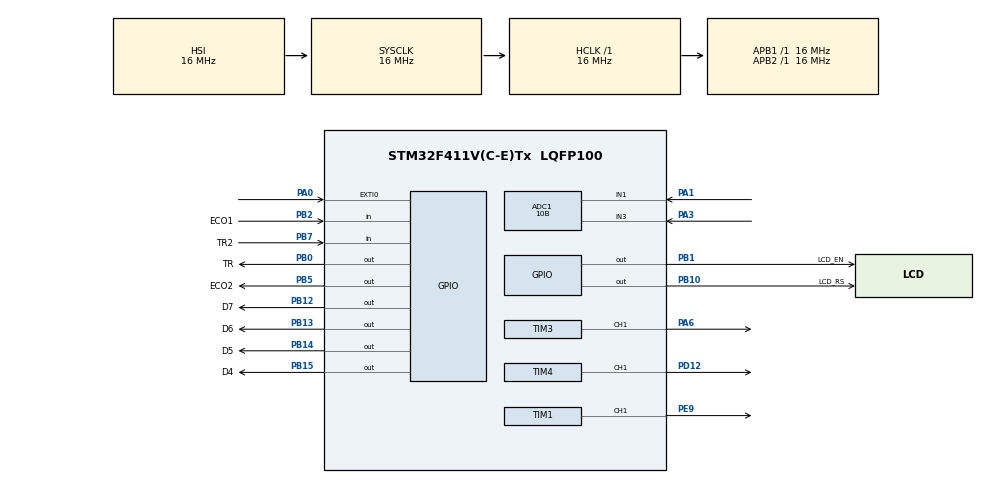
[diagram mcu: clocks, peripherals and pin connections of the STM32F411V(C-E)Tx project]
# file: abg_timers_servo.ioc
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ADC1.Channel-1\#ChannelRegularConversion=ADC_CHANNEL_1
ADC1.Channel-2\#ChannelRegularConversion=ADC_CHANNEL_3
ADC1.ContinuousConvMode=ENABLE
ADC1.DMAContinuousRequests=ENABLE
ADC1.InjNumberOfConversion=0
ADC1.NbrOfConversion=2
ADC1.NbrOfConversionFlag=1
ADC1.Rank-1\#ChannelRegularConversion=1
ADC1.Rank-2\#ChannelRegularConversion=2
ADC1.Resolution=ADC_RESOLUTION_10B
ADC1.SamplingTime-1\#ChannelRegularConversion=ADC_SAMPLETIME_480CYCLES
ADC1.SamplingTime-2\#ChannelRegularConversion=ADC_SAMPLETIME_480CYCLES
ADC1.ScanConvMode=ENABLE
ADC1.master=1
Dma.ADC1.0.Direction=DMA_PERIPH_TO_MEMORY
Dma.ADC1.0.FIFOMode=DMA_FIFOMODE_DISABLE
Dma.ADC1.0.Instance=DMA2_Stream0
Dma.ADC1.0.MemDataAlignment=DMA_MDATAALIGN_WORD
Dma.ADC1.0.MemInc=DMA_MINC_ENABLE
Dma.ADC1.0.Mode=DMA_CIRCULAR
Dma.ADC1.0.PeriphDataAlignment=DMA_PDATAALIGN_WORD
Dma.ADC1.0.PeriphInc=DMA_PINC_DISABLE
Dma.ADC1.0.Priority=DMA_PRIORITY_LOW
Dma.Request0=ADC1
Mcu.Family=STM32F4
Mcu.Name=STM32F411V(C-E)Tx
Mcu.Package=LQFP100
NVIC.ADC_IRQn=true\:0\:0\:false\:false\:true\:true\:true\:true
NVIC.DMA2_Stream0_IRQn=true\:0\:0\:false\:false\:true\:false\:true\:true
NVIC.EXTI0_IRQn=true\:0\:0\:false\:false\:true\:true\:true\:true
NVIC.PriorityGroup=NVIC_PRIORITYGROUP_4
NVIC.TIM1_UP_TIM10_IRQn=true\:0\:0\:false\:false\:true\:true\:true\:true
NVIC.TIM2_IRQn=true\:0\:0\:false\:false\:true\:true\:true\:true
PA0-WKUP.Signal=GPXTI0
PA1.Signal=ADCx_IN1
PA3.Signal=ADCx_IN3
PA6.Signal=S_TIM3_CH1
PB0.GPIO_Label=TR
PB0.Signal=GPIO_Output
PB1.GPIO_Label=LCD_EN
PB1.Signal=GPIO_Output
PB10.GPIO_Label=LCD_RS
PB10.Signal=GPIO_Output
PB12.GPIO_Label=D7
PB12.Signal=GPIO_Output
PB13.GPIO_Label=D6
PB13.Signal=GPIO_Output
PB14.GPIO_Label=D5
PB14.Signal=GPIO_Output
PB15.GPIO_Label=D4
PB15.Signal=GPIO_Output
PB2.GPIO_Label=ECO1
PB2.Signal=GPIO_Input
PB5.GPIO_Label=ECO2
PB5.Signal=GPIO_Output
PB7.GPIO_Label=TR2
PB7.Signal=GPIO_Input
PD12.Signal=S_TIM4_CH1
PE9.Signal=S_TIM1_CH1
PH0\ -\ OSC_IN.Mode=HSE-External-Oscillator
PH0\ -\ OSC_IN.Signal=RCC_OSC_IN
PH1\ -\ OSC_OUT.Mode=HSE-External-Oscillator
PH1\ -\ OSC_OUT.Signal=RCC_OSC_OUT
ProjectManager.HeapSize=0x200
ProjectManager.StackSize=0x400
ProjectManager.TargetToolchain=STM32CubeIDE
RCC.AHBFreq_Value=16000000
RCC.APB1Freq_Value=16000000
RCC.APB2Freq_Value=16000000
RCC.CortexFreq_Value=16000000
RCC.HSE_VALUE=25000000
RCC.HSI_VALUE=16000000
RCC.LSE_VALUE=32768
RCC.SYSCLKFreq_VALUE=16000000
RCC.VCOOutputFreq_Value=192000000
SH.ADCx_IN1.0=ADC1_IN1,IN1
SH.ADCx_IN3.0=ADC1_IN3,IN3
SH.S_TIM1_CH1.0=TIM1_CH1,PWM Generation1 CH1
SH.S_TIM3_CH1.0=TIM3_CH1,PWM Generation1 CH1
SH.S_TIM4_CH1.0=TIM4_CH1,PWM Generation1 CH1
TIM1.Channel-PWM\ Generation1\ CH1=TIM_CHANNEL_1
TIM1.Period=1999
TIM1.Prescaler=159
TIM1.Pulse-PWM\ Generation1\ CH1=0
TIM2.Period=5000-1
TIM2.Prescaler=16000-1
TIM3.Channel-PWM\ Generation1\ CH1=TIM_CHANNEL_1
TIM3.Period=244
TIM4.Channel-PWM\ Generation1\ CH1=TIM_CHANNEL_1
TIM4.Period=1024-1
TIM4.Prescaler=159
TIM4.Pulse-PWM\ Generation1\ CH1=0
VP_TIM1_VS_ClockSourceINT.Mode=Internal
VP_TIM2_VS_ClockSourceINT.Mode=Internal
VP_TIM3_VS_ClockSourceINT.Mode=Internal
VP_TIM4_VS_ClockSourceINT.Mode=Internal
board=custom

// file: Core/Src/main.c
/* USER CODE BEGIN Header */
/**
  ******************************************************************************
  * @file           : main.c
  * @brief          : Main program body
  ******************************************************************************
  * @attention
  *
  * <h2><center>&copy; Copyright (c) 2020 STMicroelectronics.
  * All rights reserved.</center></h2>
  *
  * This software component is licensed by ST under BSD 3-Clause license,
  * the "License"; You may not use this file except in compliance with the
  * License. You may obtain a copy of the License at:
  *                        opensource.org/licenses/BSD-3-Clause
  *
  ******************************************************************************
  */
/* USER CODE END Header */
#include "main.h"

/* USER CODE BEGIN Includes */
#include "lcd.h"
#include "SFR04.h"
/* USER CODE END Includes */

/* USER CODE BEGIN PD */
#define NUM_ADC 2
/* USER CODE END PD */

ADC_HandleTypeDef hadc1;
DMA_HandleTypeDef hdma_adc1;

TIM_HandleTypeDef htim1;
TIM_HandleTypeDef htim2;
TIM_HandleTypeDef htim3;
TIM_HandleTypeDef htim4;

/* USER CODE BEGIN PV */
/* Private variables ---------------------------------------------------------*/
LCD_t lcd;
 uint32_t adcIn[NUM_ADC];
/* USER CODE END PV */

void SystemClock_Config(void);
static void MX_GPIO_Init(void);
static void MX_DMA_Init(void);
static void MX_TIM4_Init(void);
static void MX_TIM1_Init(void);
static void MX_TIM2_Init(void);
static void MX_ADC1_Init(void);
static void MX_TIM3_Init(void);
/* USER CODE BEGIN PFP */
/* Private function prototypes -----------------------------------------------*/

/* USER CODE END PFP */

/* USER CODE BEGIN 0 */

volatile float distancia, distancia2;

uint16_t adcvalue[1], adcbuffer[2];
volatile float temperature;
volatile int pulse, pulse1;

void HAL_ADC_ConvCpltCallback (ADC_HandleTypeDef * hadc){ // callback

	if (hadc->Instance == ADC1){
		adcvalue[0]=adcbuffer[0];
	}
}

volatile uint8_t  gente_dentro = 0;
volatile int32_t adcval; // solo me dba el dato la primera lectura pero al
// hacer el dato volatile ya hace la lectura continua del sensor.
volatile int periodo=1023;

volatile int bajar_barrera=0;

void HAL_TIM_PeriodElapsedCallback(TIM_HandleTypeDef *htim){

	if (htim->Instance==TIM2){
		bajar_barrera=1;
		HAL_TIM_Base_Stop_IT(&htim2);
	}

}

volatile int button_int=0;
void HAL_GPIO_EXTI_Callback(uint16_t GPIO_Pin){

	if (GPIO_Pin==GPIO_PIN_0)
	{
		button_int = 1;
	}
}
volatile void mensajeInicial(float d, int n){
char texto[20], tn[2];
sprintf(texto, "Dist= %.2fcm", d);
	lcd_clear(&lcd);
	lcd_home(&lcd);

	    	lcd_print(&lcd, texto);
	    	lcd_setCursor(&lcd, 0, 1);
	    	sprintf(tn, "coches: %d", n);
	    	lcd_print(&lcd, tn);

}

volatile void Temperatura(int t){

	t=(t*5*100)/1024; // entre 1024 ya que nuestra conversion esta hecha en 10 bits.
	char texto[9];
	sprintf(texto, "T=%dC",t);
	lcd_setCursor(&lcd, 10, 1);
	lcd_print(&lcd, texto);
if (t>=35){
	__HAL_TIM_SET_COMPARE(&htim3, TIM_CHANNEL_1, 200); // SI LA TEMPERATURA FUESE MUY ALTA SE ACTIVA UNA ALARMA MEDIANTE UN BUZZER
														// O BIEN SE ACTIVA UN VENTILADOR RESPONSABLE DE HACER BAJAR LA TEMPERATURA DEL AMBIENTE
}else{__HAL_TIM_SET_COMPARE(&htim3, TIM_CHANNEL_1, 0);}
}

/* USER CODE END 0 */

int main(void)
{

  /* MCU Configuration--------------------------------------------------------*/

  /* Reset of all peripherals, Initializes the Flash interface and the Systick. */
  HAL_Init();

  /* Configure the system clock */
  SystemClock_Config();

  /* Initialize all configured peripherals */
  MX_GPIO_Init();
  MX_DMA_Init();
  MX_TIM4_Init();
  MX_TIM1_Init();
  MX_TIM2_Init();
  MX_ADC1_Init();
  MX_TIM3_Init();
  /* USER CODE BEGIN 2 */
  HAL_TIM_PWM_Start(&htim1, TIM_CHANNEL_1);
  HAL_TIM_PWM_Start(&htim4, TIM_CHANNEL_1);
  HAL_TIM_PWM_Start(&htim3, TIM_CHANNEL_1);
  HAL_TIM_Base_Start_IT(&htim2);// solo si empiezo y finalizo los temporizadores(IT) es cuando funcionan realmente bien
  HAL_TIM_Base_Stop_IT(&htim2);

  //HAL_ADC_Start(&hadc1);

  HAL_ADC_Start_DMA(&hadc1, adcIn, NUM_ADC);

  // LCD SETTINGS ----------------------------------------------
    	lcd.RS_port = LCD_RS_GPIO_Port;
    	lcd.RS_pin = LCD_RS_Pin;
    	//lcd.RW_port = LCD_RW_GPIO_Port;
    	//lcd.RW_pin = LCD_RW_Pin;
    	lcd.EN_port = LCD_EN_GPIO_Port;
    	lcd.EN_pin = LCD_EN_Pin;
    	lcd.D4_port = D4_GPIO_Port;
    	lcd.D4_pin = D4_Pin;
    	lcd.D5_port = D5_GPIO_Port;
    	lcd.D5_pin = D5_Pin;
    	lcd.D6_port = D6_GPIO_Port;
    	lcd.D6_pin = D6_Pin;
    	lcd.D7_port = D7_GPIO_Port;
    	lcd.D7_pin = D7_Pin;

    	//inicializamos el LCD
    	lcd_begin(&lcd, 16, 2, LCD_5x8DOTS);

    	//escribimos un mensaje inicial
    	//mensajeInicial();
    	lcd_setCursor(&lcd, 0, 0);
    	lcd_print(&lcd, "GARAJE");
    	lcd_setCursor(&lcd, 0, 1);
    	lcd_print(&lcd, "BIENVENIDO");

    	// Calculamos temperatura para colocarla en la pantalla.

    	Temperatura(adcIn[1]);
    	 int n=0;

  /* USER CODE END 2 */

  /* Infinite loop */
  while (1)
  {

    /* USER CODE BEGIN 3 */
	  // numero de coches

	  //HAL_ADC_PollForConversion(&hadc1, 100);
	  //adcval=HAL_ADC_GetValue(&hadc1); // recibir el adc mediante dma
	  	  	  	  	  	  	  	  	  	 //mejor no genera problemas a la placa
	  Temperatura(adcIn[1]);

	  distancia=SFR04_READ(ECO1_GPIO_Port, ECO1_Pin, 60);
	  distancia2=SFR04_READ(ECO2_GPIO_Port, ECO2_Pin, 60);
	  HAL_Delay(200);
	  mensajeInicial(distancia, n);

//pulse1 = (periodo-(adcbuffer[0]/256));

pulse = periodo-adcIn[0];

if(n>0){
		if (pulse<=100) {__HAL_TIM_SET_COMPARE(&htim4, TIM_CHANNEL_1, 0);}
		else {__HAL_TIM_SET_COMPARE(&htim4, TIM_CHANNEL_1, pulse);}

	  //Para que se ilumine más cuando haya menos luz (1024-adcval))
}

if (button_int==1 && distancia<=10){
	n++;
	lcd_clear(&lcd);
	lcd_home(&lcd);
	lcd_print(&lcd, "ENTRANDO...");
	HAL_Delay(3000);
	 //sets the PWM duty cycle (Capture Compare Value)
	__HAL_TIM_SET_COMPARE(&htim1, TIM_CHANNEL_1, 200); //250 // SI NO COLOCO ESTA ESPERA EL SERVO NO SE MUEVE

	HAL_TIM_Base_Start_IT(&htim2); // TEMPORIZADOR PARA BAJAR LA BARRERA 5s el codigo espera si el tiempo es 50 s pero no si es muy pequeño como 5 s
	button_int=0;
	gente_dentro=1;
	// Cuando se entre al garaje se encenderá la luz qque varía con la iluminación ambiente.

	}

if(bajar_barrera==1 ){
	//HAL_Delay(3000);
	__HAL_TIM_SET_COMPARE(&htim1, TIM_CHANNEL_1, 100);
	bajar_barrera=0;
	//mensajeInicial(distancia);
	//Temperatura(adcIn[1]);
}

if (button_int==1 && distancia2<=10){
	n--;
	lcd_clear(&lcd);
	lcd_home(&lcd);
	lcd_print(&lcd, "SALIENDO...");
	HAL_Delay(3000);
	 //sets the PWM duty cycle (Capture Compare Value)
	__HAL_TIM_SET_COMPARE(&htim1, TIM_CHANNEL_1, 200); //250 // SI NO COLOCO ESTA ESPERA EL SERVO NO SE MUEVE

	HAL_TIM_Base_Start_IT(&htim2); // TEMPORIZADOR PARA BAJAR LA BARRERA 5s el codigo espera si el tiempo es 50 s pero no si es muy pequeño como 5 s
	button_int=0;

	// Cuando se entre al garaje se encenderá la luz qque varía con la iluminación ambiente.

}

  }
  /* USER CODE END 3 */
}

void SystemClock_Config(void)
{
  RCC_OscInitTypeDef RCC_OscInitStruct = {0};
  RCC_ClkInitTypeDef RCC_ClkInitStruct = {0};

  /** Configure the main internal regulator output voltage
  */
  __HAL_RCC_PWR_CLK_ENABLE();
  __HAL_PWR_VOLTAGESCALING_CONFIG(PWR_REGULATOR_VOLTAGE_SCALE1);

  /** Initializes the RCC Oscillators according to the specified parameters
  * in the RCC_OscInitTypeDef structure.
  */
  RCC_OscInitStruct.OscillatorType = RCC_OSCILLATORTYPE_HSI;
  RCC_OscInitStruct.HSIState = RCC_HSI_ON;
  RCC_OscInitStruct.HSICalibrationValue = RCC_HSICALIBRATION_DEFAULT;
  RCC_OscInitStruct.PLL.PLLState = RCC_PLL_NONE;
  if (HAL_RCC_OscConfig(&RCC_OscInitStruct) != HAL_OK)
  {
    Error_Handler();
  }

  /** Initializes the CPU, AHB and APB buses clocks
  */
  RCC_ClkInitStruct.ClockType = RCC_CLOCKTYPE_HCLK|RCC_CLOCKTYPE_SYSCLK
                              |RCC_CLOCKTYPE_PCLK1|RCC_CLOCKTYPE_PCLK2;
  RCC_ClkInitStruct.SYSCLKSource = RCC_SYSCLKSOURCE_HSI;
  RCC_ClkInitStruct.AHBCLKDivider = RCC_SYSCLK_DIV1;
  RCC_ClkInitStruct.APB1CLKDivider = RCC_HCLK_DIV1;
  RCC_ClkInitStruct.APB2CLKDivider = RCC_HCLK_DIV1;

  if (HAL_RCC_ClockConfig(&RCC_ClkInitStruct, FLASH_LATENCY_0) != HAL_OK)
  {
    Error_Handler();
  }
}

static void MX_ADC1_Init(void)
{

  ADC_ChannelConfTypeDef sConfig = {0};

  /** Configure the global features of the ADC (Clock, Resolution, Data Alignment and number of conversion)
  */
  hadc1.Instance = ADC1;
  hadc1.Init.ClockPrescaler = ADC_CLOCK_SYNC_PCLK_DIV2;
  hadc1.Init.Resolution = ADC_RESOLUTION_10B;
  hadc1.Init.ScanConvMode = ENABLE;
  hadc1.Init.ContinuousConvMode = ENABLE;
  hadc1.Init.DiscontinuousConvMode = DISABLE;
  hadc1.Init.ExternalTrigConvEdge = ADC_EXTERNALTRIGCONVEDGE_NONE;
  hadc1.Init.ExternalTrigConv = ADC_SOFTWARE_START;
  hadc1.Init.DataAlign = ADC_DATAALIGN_RIGHT;
  hadc1.Init.NbrOfConversion = 2;
  hadc1.Init.DMAContinuousRequests = ENABLE;
  hadc1.Init.EOCSelection = ADC_EOC_SINGLE_CONV;
  if (HAL_ADC_Init(&hadc1) != HAL_OK)
  {
    Error_Handler();
  }

  /** Configure for the selected ADC regular channel its corresponding rank in the sequencer and its sample time.
  */
  sConfig.Channel = ADC_CHANNEL_1;
  sConfig.Rank = 1;
  sConfig.SamplingTime = ADC_SAMPLETIME_480CYCLES;
  if (HAL_ADC_ConfigChannel(&hadc1, &sConfig) != HAL_OK)
  {
    Error_Handler();
  }

  /** Configure for the selected ADC regular channel its corresponding rank in the sequencer and its sample time.
  */
  sConfig.Channel = ADC_CHANNEL_3;
  sConfig.Rank = 2;
  if (HAL_ADC_ConfigChannel(&hadc1, &sConfig) != HAL_OK)
  {
    Error_Handler();
  }

}

static void MX_TIM1_Init(void)
{

  TIM_ClockConfigTypeDef sClockSourceConfig = {0};
  TIM_MasterConfigTypeDef sMasterConfig = {0};
  TIM_OC_InitTypeDef sConfigOC = {0};
  TIM_BreakDeadTimeConfigTypeDef sBreakDeadTimeConfig = {0};

  htim1.Instance = TIM1;
  htim1.Init.Prescaler = 159;
  htim1.Init.CounterMode = TIM_COUNTERMODE_UP;
  htim1.Init.Period = 1999;
  htim1.Init.ClockDivision = TIM_CLOCKDIVISION_DIV1;
  htim1.Init.RepetitionCounter = 0;
  htim1.Init.AutoReloadPreload = TIM_AUTORELOAD_PRELOAD_DISABLE;
  if (HAL_TIM_Base_Init(&htim1) != HAL_OK)
  {
    Error_Handler();
  }
  sClockSourceConfig.ClockSource = TIM_CLOCKSOURCE_INTERNAL;
  if (HAL_TIM_ConfigClockSource(&htim1, &sClockSourceConfig) != HAL_OK)
  {
    Error_Handler();
  }
  if (HAL_TIM_PWM_Init(&htim1) != HAL_OK)
  {
    Error_Handler();
  }
  sMasterConfig.MasterOutputTrigger = TIM_TRGO_RESET;
  sMasterConfig.MasterSlaveMode = TIM_MASTERSLAVEMODE_DISABLE;
  if (HAL_TIMEx_MasterConfigSynchronization(&htim1, &sMasterConfig) != HAL_OK)
  {
    Error_Handler();
  }
  sConfigOC.OCMode = TIM_OCMODE_PWM1;
  sConfigOC.Pulse = 0;
  sConfigOC.OCPolarity = TIM_OCPOLARITY_HIGH;
  sConfigOC.OCNPolarity = TIM_OCNPOLARITY_HIGH;
  sConfigOC.OCFastMode = TIM_OCFAST_DISABLE;
  sConfigOC.OCIdleState = TIM_OCIDLESTATE_RESET;
  sConfigOC.OCNIdleState = TIM_OCNIDLESTATE_RESET;
  if (HAL_TIM_PWM_ConfigChannel(&htim1, &sConfigOC, TIM_CHANNEL_1) != HAL_OK)
  {
    Error_Handler();
  }
  sBreakDeadTimeConfig.OffStateRunMode = TIM_OSSR_DISABLE;
  sBreakDeadTimeConfig.OffStateIDLEMode = TIM_OSSI_DISABLE;
  sBreakDeadTimeConfig.LockLevel = TIM_LOCKLEVEL_OFF;
  sBreakDeadTimeConfig.DeadTime = 0;
  sBreakDeadTimeConfig.BreakState = TIM_BREAK_DISABLE;
  sBreakDeadTimeConfig.BreakPolarity = TIM_BREAKPOLARITY_HIGH;
  sBreakDeadTimeConfig.AutomaticOutput = TIM_AUTOMATICOUTPUT_DISABLE;
  if (HAL_TIMEx_ConfigBreakDeadTime(&htim1, &sBreakDeadTimeConfig) != HAL_OK)
  {
    Error_Handler();
  }
  HAL_TIM_MspPostInit(&htim1);

}

static void MX_TIM2_Init(void)
{

  TIM_ClockConfigTypeDef sClockSourceConfig = {0};
  TIM_MasterConfigTypeDef sMasterConfig = {0};

  htim2.Instance = TIM2;
  htim2.Init.Prescaler = 16000-1;
  htim2.Init.CounterMode = TIM_COUNTERMODE_UP;
  htim2.Init.Period = 5000-1;
  htim2.Init.ClockDivision = TIM_CLOCKDIVISION_DIV1;
  htim2.Init.AutoReloadPreload = TIM_AUTORELOAD_PRELOAD_DISABLE;
  if (HAL_TIM_Base_Init(&htim2) != HAL_OK)
  {
    Error_Handler();
  }
  sClockSourceConfig.ClockSource = TIM_CLOCKSOURCE_INTERNAL;
  if (HAL_TIM_ConfigClockSource(&htim2, &sClockSourceConfig) != HAL_OK)
  {
    Error_Handler();
  }
  sMasterConfig.MasterOutputTrigger = TIM_TRGO_RESET;
  sMasterConfig.MasterSlaveMode = TIM_MASTERSLAVEMODE_DISABLE;
  if (HAL_TIMEx_MasterConfigSynchronization(&htim2, &sMasterConfig) != HAL_OK)
  {
    Error_Handler();
  }

}

static void MX_TIM3_Init(void)
{

  TIM_ClockConfigTypeDef sClockSourceConfig = {0};
  TIM_MasterConfigTypeDef sMasterConfig = {0};
  TIM_OC_InitTypeDef sConfigOC = {0};

  htim3.Instance = TIM3;
  htim3.Init.Prescaler = 0;
  htim3.Init.CounterMode = TIM_COUNTERMODE_UP;
  htim3.Init.Period = 244;
  htim3.Init.ClockDivision = TIM_CLOCKDIVISION_DIV1;
  htim3.Init.AutoReloadPreload = TIM_AUTORELOAD_PRELOAD_DISABLE;
  if (HAL_TIM_Base_Init(&htim3) != HAL_OK)
  {
    Error_Handler();
  }
  sClockSourceConfig.ClockSource = TIM_CLOCKSOURCE_INTERNAL;
  if (HAL_TIM_ConfigClockSource(&htim3, &sClockSourceConfig) != HAL_OK)
  {
    Error_Handler();
  }
  if (HAL_TIM_PWM_Init(&htim3) != HAL_OK)
  {
    Error_Handler();
  }
  sMasterConfig.MasterOutputTrigger = TIM_TRGO_RESET;
  sMasterConfig.MasterSlaveMode = TIM_MASTERSLAVEMODE_DISABLE;
  if (HAL_TIMEx_MasterConfigSynchronization(&htim3, &sMasterConfig) != HAL_OK)
  {
    Error_Handler();
  }
  sConfigOC.OCMode = TIM_OCMODE_PWM1;
  sConfigOC.Pulse = 0;
  sConfigOC.OCPolarity = TIM_OCPOLARITY_HIGH;
  sConfigOC.OCFastMode = TIM_OCFAST_DISABLE;
  if (HAL_TIM_PWM_ConfigChannel(&htim3, &sConfigOC, TIM_CHANNEL_1) != HAL_OK)
  {
    Error_Handler();
  }
  HAL_TIM_MspPostInit(&htim3);

}

static void MX_TIM4_Init(void)
{

  TIM_ClockConfigTypeDef sClockSourceConfig = {0};
  TIM_MasterConfigTypeDef sMasterConfig = {0};
  TIM_OC_InitTypeDef sConfigOC = {0};

  htim4.Instance = TIM4;
  htim4.Init.Prescaler = 159;
  htim4.Init.CounterMode = TIM_COUNTERMODE_UP;
  htim4.Init.Period = 1024-1;
  htim4.Init.ClockDivision = TIM_CLOCKDIVISION_DIV1;
  htim4.Init.AutoReloadPreload = TIM_AUTORELOAD_PRELOAD_DISABLE;
  if (HAL_TIM_Base_Init(&htim4) != HAL_OK)
  {
    Error_Handler();
  }
  sClockSourceConfig.ClockSource = TIM_CLOCKSOURCE_INTERNAL;
  if (HAL_TIM_ConfigClockSource(&htim4, &sClockSourceConfig) != HAL_OK)
  {
    Error_Handler();
  }
  if (HAL_TIM_PWM_Init(&htim4) != HAL_OK)
  {
    Error_Handler();
  }
  sMasterConfig.MasterOutputTrigger = TIM_TRGO_RESET;
  sMasterConfig.MasterSlaveMode = TIM_MASTERSLAVEMODE_DISABLE;
  if (HAL_TIMEx_MasterConfigSynchronization(&htim4, &sMasterConfig) != HAL_OK)
  {
    Error_Handler();
  }
  sConfigOC.OCMode = TIM_OCMODE_PWM1;
  sConfigOC.Pulse = 0;
  sConfigOC.OCPolarity = TIM_OCPOLARITY_HIGH;
  sConfigOC.OCFastMode = TIM_OCFAST_DISABLE;
  if (HAL_TIM_PWM_ConfigChannel(&htim4, &sConfigOC, TIM_CHANNEL_1) != HAL_OK)
  {
    Error_Handler();
  }
  HAL_TIM_MspPostInit(&htim4);

}

static void MX_DMA_Init(void)
{

  /* DMA controller clock enable */
  __HAL_RCC_DMA2_CLK_ENABLE();

  /* DMA interrupt init */
  /* DMA2_Stream0_IRQn interrupt configuration */
  HAL_NVIC_SetPriority(DMA2_Stream0_IRQn, 0, 0);
  HAL_NVIC_EnableIRQ(DMA2_Stream0_IRQn);

}

static void MX_GPIO_Init(void)
{
  GPIO_InitTypeDef GPIO_InitStruct = {0};

  /* GPIO Ports Clock Enable */
  __HAL_RCC_GPIOH_CLK_ENABLE();
  __HAL_RCC_GPIOA_CLK_ENABLE();
  __HAL_RCC_GPIOB_CLK_ENABLE();
  __HAL_RCC_GPIOE_CLK_ENABLE();
  __HAL_RCC_GPIOD_CLK_ENABLE();

  /*Configure GPIO pin Output Level */
  HAL_GPIO_WritePin(GPIOB, TR_Pin|LCD_EN_Pin|LCD_RS_Pin|D7_Pin
                          |D6_Pin|D5_Pin|D4_Pin|ECO2_Pin, GPIO_PIN_RESET);

  /*Configure GPIO pin : PA0 */
  GPIO_InitStruct.Pin = GPIO_PIN_0;
  GPIO_InitStruct.Mode = GPIO_MODE_IT_RISING;
  GPIO_InitStruct.Pull = GPIO_NOPULL;
  HAL_GPIO_Init(GPIOA, &GPIO_InitStruct);

  /*Configure GPIO pins : TR_Pin LCD_EN_Pin LCD_RS_Pin D7_Pin
                           D6_Pin D5_Pin D4_Pin ECO2_Pin */
  GPIO_InitStruct.Pin = TR_Pin|LCD_EN_Pin|LCD_RS_Pin|D7_Pin
                          |D6_Pin|D5_Pin|D4_Pin|ECO2_Pin;
  GPIO_InitStruct.Mode = GPIO_MODE_OUTPUT_PP;
  GPIO_InitStruct.Pull = GPIO_NOPULL;
  GPIO_InitStruct.Speed = GPIO_SPEED_FREQ_LOW;
  HAL_GPIO_Init(GPIOB, &GPIO_InitStruct);

  /*Configure GPIO pins : ECO1_Pin TR2_Pin */
  GPIO_InitStruct.Pin = ECO1_Pin|TR2_Pin;
  GPIO_InitStruct.Mode = GPIO_MODE_INPUT;
  GPIO_InitStruct.Pull = GPIO_NOPULL;
  HAL_GPIO_Init(GPIOB, &GPIO_InitStruct);

  /* EXTI interrupt init*/
  HAL_NVIC_SetPriority(EXTI0_IRQn, 0, 0);
  HAL_NVIC_EnableIRQ(EXTI0_IRQn);

}

void Error_Handler(void)
{
  while(1)
  {
  }
}
